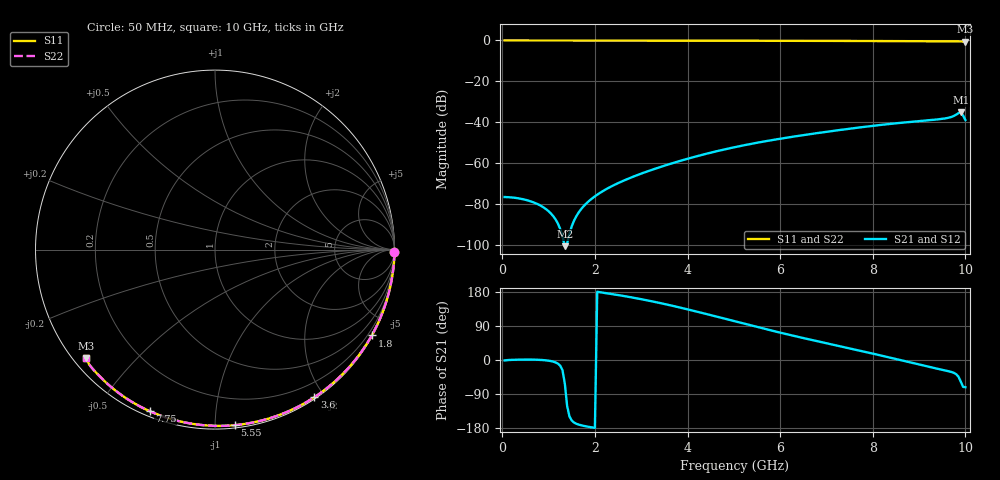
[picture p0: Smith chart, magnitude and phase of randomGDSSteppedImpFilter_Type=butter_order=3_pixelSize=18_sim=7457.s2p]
! freq	dB(S11)	phase(S11)	dB(S12)	phase(S12)
!  dB(S21)	phase(S21)	dB(S22)	phase(S22)
!S-par simulation data
#  GHz  S  DB  R 50
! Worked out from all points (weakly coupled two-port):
!   200 points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, 50 MHz to 10 GHz, reference 50 ohm
!   highest |S21| = -35.19 dB at 9.9 GHz (marker M1); lowest = -100.6 dB at 1.35 GHz (marker M2)
!   lowest |S11| = -0.6 dB at 10 GHz (marker M3), VSWR 31.03, Z = 1.83 - j18.3 ohm
!   |S11| at or under -10 dB: nowhere
!   |S22| runs from -0.6 to 0.0 dB; largest |S21 - S12| = 0
!   S11 on the Smith chart (normalised r, x): 50 MHz: open; 1.8 GHz: 0.03, -3.91; 3.6 GHz: 0.02, -1.88; 5.55 GHz: 0.02, -1.12; 7.75 GHz: 0.02, -0.67; 10 GHz: 0.04, -0.37
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0.05  -0.00 -0.8  -76.57 -1.3  -76.57 -1.3  -0.00 -0.8
0.45  -0.01 -7.3  -77.65 1.1  -77.65 1.1  -0.01 -7.3
0.75  -0.02 -12.1  -79.89 0.7  -79.89 0.7  -0.02 -12.1
1.35  -0.03 -21.6  -100.60 -62.2  -100.60 -62.2  -0.03 -21.6
1.75  -0.04 -27.9  -81.22 -173.7  -81.22 -173.7  -0.04 -27.9
1.8  -0.04 -28.7  -80.03 -174.9  -80.03 -174.9  -0.04 -28.7
2.05  -0.04 -32.6  -75.41 180.0  -75.41 180.0  -0.04 -32.6
2.4  -0.05 -38.0  -70.87 173.4  -70.87 173.4  -0.05 -38.0
2.85  -0.06 -44.9  -66.41 164.0  -66.41 164.0  -0.06 -44.9
3.4  -0.07 -53.1  -61.97 150.5  -61.97 150.5  -0.07 -53.1
3.6  -0.08 -56.0  -60.53 145.1  -60.53 145.1  -0.08 -56.0
4.3  -0.09 -66.2  -56.02 124.6  -56.02 124.6  -0.09 -66.2
5.05  -0.12 -76.7  -52.04 101.1  -52.04 101.1  -0.12 -76.7
5.55  -0.14 -83.5  -49.82 85.6  -49.82 85.6  -0.14 -83.5
6.7  -0.19 -98.7  -45.63 52.4  -45.63 52.4  -0.19 -98.7
7.75  -0.26 -112.0  -42.44 23.8  -42.44 23.8  -0.26 -112.0
8.35  -0.30 -119.5  -40.87 6.9  -40.87 6.9  -0.30 -119.5
9.55  -0.42 -134.3  -38.16 -27.2  -38.16 -27.2  -0.42 -134.3
9.7  -0.43 -136.2  -37.38 -31.7  -37.38 -31.7  -0.43 -136.2
9.9  -0.52 -138.9  -35.19 -57.0  -35.19 -57.0  -0.51 -138.9
9.95  -0.55 -139.4  -36.70 -70.9  -36.70 -70.9  -0.54 -139.4
10  -0.56 -139.8  -38.90 -71.8  -38.90 -71.8  -0.56 -139.8
